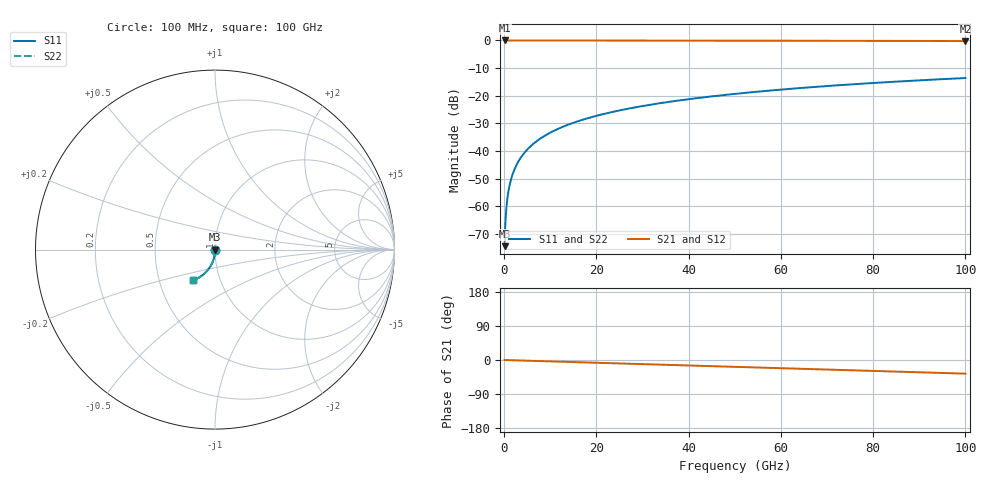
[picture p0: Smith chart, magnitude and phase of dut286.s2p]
! Touchstone file exported from HFSS 2026.1.0
!  File:  C:/ffzhzh/LocalFiles/Ansys_Project_Files/temp_train_TSV_286_1783508894_9504.aedt
!  Generated:  07:09:26 PM Jul  8, 2026
!  Design:  TSV
!  Project:  temp_train_TSV_286_1783508894_9504
! Variables:
!  h_bsmrdl = 2um
!  h_ox = 20um
!  h_rdl = 5um
!  h_sub = 69.14um
!  h_tmrdl = 5um
!  h_tsv = 69.14um
!  h_via = 3um
!  l_bsmrdl = 300um
!  l_sub = 429.6um
!  l_tmrdl = 200um
!  m_sub = 200um
!  pitch = 43.63um
!  r_tsv = 14.8um
!  s_tmrdl = 10um
!  w_bsmrdl = 18um
!  w_sub = 500um
!  w_tmrdl = 12um
!  x_tsv_center1 = 206um
!  x_tsv_center2 = 524um
!  x_tsv_center3 = 736um
!  x_tsv_center4 = 1054um
!  x_tsv_center5 = 1266um
!  x_tsv_center6 = 1584um
# GHz S MA R 50.000000
! Terminal data exported
! Port[1] = TSV1_1_T1
! Port[2] = TSV1_1_T2
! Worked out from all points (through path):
!   1000 points, 100 MHz to 100 GHz, reference 50 ohm
!   highest |S21| = 0.00 dB at 100 MHz (marker M1); lowest = -0.2 dB at 100 GHz (marker M2)
!   group delay of S21, straight-line fit = 1 ps
!   lowest |S11| = -74.4 dB at 100 MHz (marker M3), VSWR 1.00, Z = 50 - j0.0178 ohm
!   |S11| at or under -10 dB: start of sweep to end of sweep
!   |S22| runs from -74.4 to -13.6 dB; largest |S21 - S12| = 3.6e-15
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0.1  0.0001911 -68.7  0.9999 -0.0  0.9999 -0.0  0.0001911 -68.7
! Gamma 0 0 0 0
! Port Impedance 50 0 50 0
0.3  0.0005627 -79.4  0.9999 -0.1  0.9999 -0.1  0.0005627 -79.4
0.7  0.001386 -82.9  0.9998 -0.3  0.9998 -0.3  0.001386 -82.9
0.8  0.001598 -83.4  0.9998 -0.3  0.9998 -0.3  0.001598 -83.4
1  0.002023 -84.3  0.9998 -0.4  0.9998 -0.4  0.002023 -84.3
1.3  0.002661 -85.3  0.9998 -0.5  0.9998 -0.5  0.002661 -85.3
1.7  0.003513 -86.2  0.9997 -0.6  0.9997 -0.6  0.003513 -86.2
2.3  0.004798 -87.1  0.9997 -0.8  0.9997 -0.8  0.004798 -87.1
2.9  0.006089 -87.7  0.9996 -1.1  0.9996 -1.1  0.006089 -87.7
3.7  0.007819 -88.4  0.9996 -1.4  0.9996 -1.4  0.007819 -88.4
4.7  0.00999 -89.1  0.9995 -1.7  0.9995 -1.7  0.00999 -89.1
5.8  0.01238 -89.8  0.9994 -2.1  0.9994 -2.1  0.01238 -89.8
8.6  0.01849 -91.2  0.9992 -3.1  0.9992 -3.1  0.01849 -91.2
12.2  0.02635 -92.8  0.9989 -4.4  0.9989 -4.4  0.02635 -92.8
16.8  0.03641 -94.7  0.9984 -6.1  0.9984 -6.1  0.03641 -94.7
24.2  0.05257 -97.6  0.9975 -8.8  0.9975 -8.8  0.05257 -97.6
33.4  0.07255 -101.2  0.9961 -12.1  0.9961 -12.1  0.07255 -101.2
41.2  0.08937 -104.1  0.9946 -14.9  0.9946 -14.9  0.08937 -104.1
50.1  0.1084 -107.4  0.9925 -18.2  0.9925 -18.2  0.1084 -107.4
66.7  0.1432 -113.4  0.9878 -24.1  0.9878 -24.1  0.1432 -113.4
83.4  0.1771 -119.5  0.982 -30.1  0.982 -30.1  0.1771 -119.5
100  0.2093 -125.5  0.9752 -36.0  0.9752 -36.0  0.2093 -125.5
